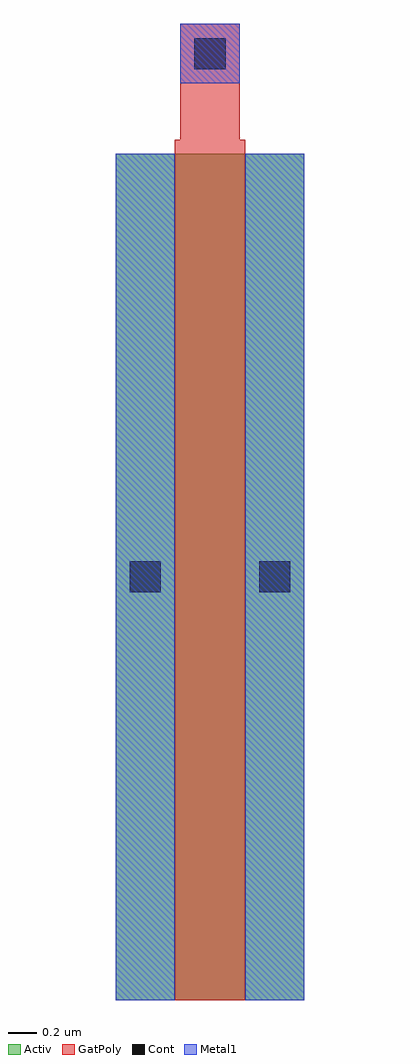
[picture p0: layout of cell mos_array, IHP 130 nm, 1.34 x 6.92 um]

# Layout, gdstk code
import gdstk
lib = gdstk.Library(unit=1e-6, precision=1e-09)
def R(c, l, rs):  # rectangles x0, y0, x1, y1
    for r in rs: c.add(gdstk.rectangle(r[:2], r[2:], *l))
Activ = (1, 0)
GatPoly = (5, 0)
Cont = (6, 0)
Metal1 = (8, 0)

mos_array = lib.new_cell('mos_array')
R(mos_array, Activ, [(0,0,1.34,6)])
R(mos_array, GatPoly, [(0.42,0,0.92,6), (0.42,6,0.92,6.1), (0.46,6.1,0.88,6.92)])
R(mos_array, Cont, [(0.1,2.89,0.32,3.11), (1.02,2.89,1.24,3.11), (0.56,6.6,0.78,6.82)])
R(mos_array, Metal1, [(0,0,0.42,6), (0.92,0,1.34,6), (0.46,6.5,0.88,6.92)])

lib.write_gds('mos_array.gds')
